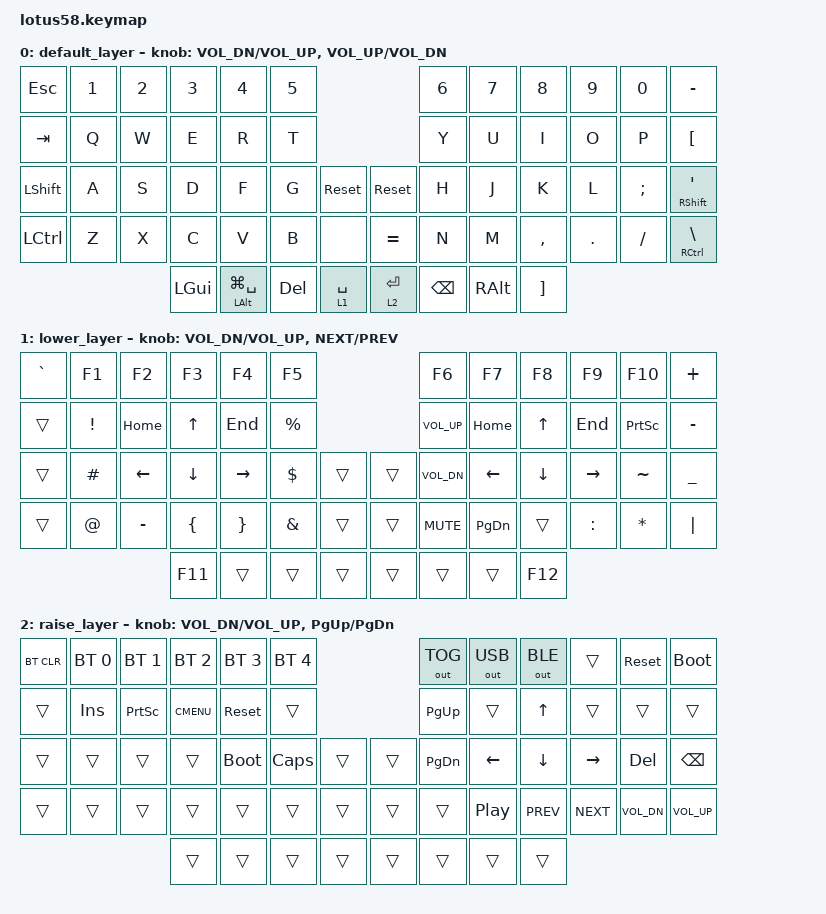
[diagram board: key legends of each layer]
/*
 * Copyright (c) 2022 The ZMK Contributors
 *
 * SPDX-License-Identifier: MIT
 */

#include <behaviors.dtsi>
#include <dt-bindings/zmk/bt.h>
#include <dt-bindings/zmk/keys.h>
#include <dt-bindings/zmk/outputs.h>

/ {
    combos {
        compatible = "zmk,combos";

        combo_dsklg {
            timeout-ms = <100>;
            key-positions = <24 52>;
            layers = <0>;
            bindings = <&kp LGUI>;
        };
    };

    behaviors {
        fofunc: four_ffour {
            compatible = "zmk,behavior-mod-morph";
            #binding-cells = <0>;
            bindings = <&kp N4>, <&kp F4>;

            mods = <(MOD_LALT|MOD_RALT)>;
        };

        sleft: s_left {
            compatible = "zmk,behavior-mod-morph";
            #binding-cells = <0>;
            bindings = <&kp S>, <&kp LEFT>;

            mods = <(MOD_LGUI|MOD_RGUI)>;
        };

        fright: f_right {
            compatible = "zmk,behavior-mod-morph";
            #binding-cells = <0>;
            bindings = <&kp F>, <&kp RIGHT>;

            mods = <(MOD_LGUI|MOD_RGUI)>;
        };
    };

    macros {
        ch_lg: change_lang {
            compatible = "zmk,behavior-macro";
            #binding-cells = <0>;
            bindings = <&sk LEFT_WIN &kp SPACE>;
            label = "CHANGE_LANG";
        };
    };

    keymap {
        compatible = "zmk,keymap";

        default_layer {
            //   ------------------------------------------------------------------------------------------------------------
            //  0|  ESC  |  1  |  2  |  3   |  4   |  5   |                     |  6   |  7    |  8    |  9   |   0   |   =   | 11
            // 12|  TAB  |  Q  |  W  |  E   |  R   |  T   |                     |  Y   |  U    |  I    |  O   |   P   |   [   | 23
            // 24|  SFT  |  A  |  S  |  D   |  F   |  G   |  RESET  |  | RESET  |  H   |  J    |  K    |  L   |   ;   | ' SFT | 37
            // 38|  CTRL |  Z  |  X  |  C   |  V   |  B   |  MUTE   |  | PLAY   |  N   |  M    |  ,    |  .   |   /   | \ CTRL| 51
            // 52                    |ENT RS|  ALT | SPACE|DELETE LW|  |ENTER RS| BSPC |  ] LW | RGUI  |                        59

            bindings = <
&kp ESC    &kp N1  &kp N2  &kp N3    &kp N4              &kp N5                             &kp N6    &kp N7    &kp N8     &kp N9   &kp N0    &kp MINUS
&kp TAB    &kp Q   &kp W   &kp E     &kp R               &kp T                              &kp Y     &kp U     &kp I      &kp O    &kp P     &kp LBKT
&kp LSHFT  &kp A   &kp S   &kp D     &kp F               &kp G    &sys_reset   &sys_reset   &kp H     &kp J     &kp K      &kp L    &kp SEMI  &mt RSHFT SQT
&kp LCTRL  &kp Z   &kp X   &kp C     &kp V               &kp B    &none        &kp EQUAL    &kp N     &kp M     &kp COMMA  &kp DOT  &kp FSLH  &mt RCTRL BSLH
                           &kp LGUI  &mt LALT LG(SPACE)  &kp DEL  &lt 1 SPACE  &lt 2 ENTER  &kp BSPC  &kp RALT  &kp RBKT
            >;

            sensor-bindings =
                <&inc_dec_kp C_VOL_DN C_VOL_UP>,
                <&inc_dec_kp C_VOL_UP C_VOL_DN>;
        };

        lower_layer {
            // ------------------------------------------------------------------------------------------------------------
            // | `     |  F1 |  F2 |  F3  |  F4  |  F5  |                   |  F6  |  F7   |  F8   |  F9  |  F10  |  F11  |
            // |       |  !  | HOME|   ^  |  END |  %   |                   | VOL^ |  PGUP |  INS  |  ^   |  PSCR |   -   |
            // |       |  #  |  <- |   v  | ->   |  $   |        |  |       | VOLv |    <- |   ^   |  ->  |   ~   |   _   |
            // |       |  @  |  -  |  (   |  )   |  &   |        |  |       | MUTE |  PGDN |   v   |  :   |   *   |   |   |
            //                     |  F11 |      |      |        |  |       |      |       |  F12  |

            bindings = <
&kp GRAVE  &kp F1    &kp F2     &kp F3    &kp F4     &kp F5                     &kp F6        &kp F7     &kp F8    &kp F9     &kp F10    &kp PLUS
&trans     &kp EXCL  &kp HOME   &kp UP    &kp END    &kp PRCNT                  &kp C_VOL_UP  &kp HOME   &kp UP    &kp END    &kp PSCRN  &kp MINUS
&trans     &kp HASH  &kp LEFT   &kp DOWN  &kp RIGHT  &kp DLLR   &trans  &trans  &kp C_VOL_DN  &kp LEFT   &kp DOWN  &kp RIGHT  &kp TILDE  &kp UNDER
&trans     &kp AT    &kp MINUS  &kp LBRC  &kp RBRC   &kp AMPS   &trans  &trans  &kp C_MUTE    &kp PG_DN  &trans    &kp COLON  &kp STAR   &kp PIPE
                                &kp F11   &trans     &trans     &trans  &trans  &trans        &trans     &kp F12
            >;

            sensor-bindings = <&inc_dec_kp C_VOL_DN C_VOL_UP &inc_dec_kp C_NEXT C_PREV>;
        };

        raise_layer {
            // ------------------------------------------------------------------------------------------------------------
            // |BTCLR| BT1  | BT2  |  BT3  |  BT4  |  BT5 |                |OUTTOG|OUTUSB| OUTBT |      | RESET | FLASH |
            // |     | INS  | PSCR | GUI   | RESET |      |                | PGUP |      |   ^   |      |       |       |
            // |     | ALT  | CTRL | SHIFT | FLASH | CAPS |      |  |      | PGDN |   <- |   v   |  ->  |  DEL  | BSPC  |
            // |     | UNDO | CUT  | COPY  | PASTE |      |      |  |      |      |  |>  |  <|<| | |>|> |       |       |
            //                     |       |       |      |      |  |      |      |      |       |

            bindings = <
&bt BT_CLR  &bt BT_SEL 0  &bt BT_SEL 1  &bt BT_SEL 2  &bt BT_SEL 3  &bt BT_SEL 4                  &out OUT_TOG  &out OUT_USB  &out OUT_BLE  &trans      &sys_reset    &bootloader
&trans      &kp INS       &kp PSCRN     &kp K_CMENU   &sys_reset    &trans                        &kp PG_UP     &trans        &kp UP        &trans      &trans        &trans
&trans      &trans        &trans        &trans        &bootloader   &kp CLCK      &trans  &trans  &kp PG_DN     &kp LEFT      &kp DOWN      &kp RIGHT   &kp DEL       &kp BSPC
&trans      &trans        &trans        &trans        &trans        &trans        &trans  &trans  &trans        &kp C_PP      &kp C_PREV    &kp C_NEXT  &kp C_VOL_DN  &kp C_VOL_UP
                                        &trans        &trans        &trans        &trans  &trans  &trans        &trans        &trans
            >;

            sensor-bindings = <&inc_dec_kp C_VOL_DN C_VOL_UP &inc_dec_kp PG_UP PG_DN>;
        };
    };
};
